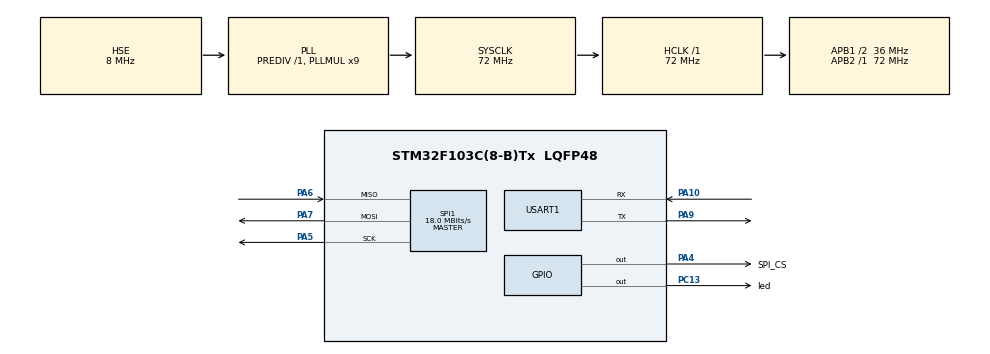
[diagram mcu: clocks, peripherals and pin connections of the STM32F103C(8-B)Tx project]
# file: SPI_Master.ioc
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Mcu.Family=STM32F1
Mcu.Name=STM32F103C(8-B)Tx
Mcu.Package=LQFP48
NVIC.PriorityGroup=NVIC_PRIORITYGROUP_4
PA10.Mode=Asynchronous
PA10.Signal=USART1_RX
PA13.Mode=Serial_Wire
PA13.Signal=SYS_JTMS-SWDIO
PA14.Mode=Serial_Wire
PA14.Signal=SYS_JTCK-SWCLK
PA4.GPIO_Label=SPI_CS
PA4.Signal=GPIO_Output
PA5.Mode=Full_Duplex_Master
PA5.Signal=SPI1_SCK
PA6.Mode=Full_Duplex_Master
PA6.Signal=SPI1_MISO
PA7.Mode=Full_Duplex_Master
PA7.Signal=SPI1_MOSI
PA9.Mode=Asynchronous
PA9.Signal=USART1_TX
PC13-TAMPER-RTC.GPIO_Label=led
PC13-TAMPER-RTC.Signal=GPIO_Output
PD0-OSC_IN.Mode=HSE-External-Oscillator
PD0-OSC_IN.Signal=RCC_OSC_IN
PD1-OSC_OUT.Mode=HSE-External-Oscillator
PD1-OSC_OUT.Signal=RCC_OSC_OUT
ProjectManager.HeapSize=0x200
ProjectManager.StackSize=0x400
ProjectManager.TargetToolchain=STM32CubeIDE
RCC.AHBFreq_Value=72000000
RCC.APB1CLKDivider=RCC_HCLK_DIV2
RCC.APB1Freq_Value=36000000
RCC.APB1TimFreq_Value=72000000
RCC.APB2Freq_Value=72000000
RCC.APB2TimFreq_Value=72000000
RCC.HCLKFreq_Value=72000000
RCC.PLLMUL=RCC_PLL_MUL9
RCC.PLLSourceVirtual=RCC_PLLSOURCE_HSE
RCC.SYSCLKFreq_VALUE=72000000
RCC.SYSCLKSource=RCC_SYSCLKSOURCE_PLLCLK
RCC.USBFreq_Value=72000000
SPI1.BaudRatePrescaler=SPI_BAUDRATEPRESCALER_4
SPI1.CalculateBaudRate=18.0 MBits/s
SPI1.Direction=SPI_DIRECTION_2LINES
SPI1.Mode=SPI_MODE_MASTER
SPI1.VirtualType=VM_MASTER
USART1.VirtualMode=VM_ASYNC
board=custom

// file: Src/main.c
/* USER CODE BEGIN Header */
/**
  ******************************************************************************
  * @file           : main.c
  * @brief          : Main program body
  ******************************************************************************
  * @attention
  *
  * <h2><center>&copy; Copyright (c) 2020 STMicroelectronics.
  * All rights reserved.</center></h2>
  *
  * This software component is licensed by ST under BSD 3-Clause license,
  * the "License"; You may not use this file except in compliance with the
  * License. You may obtain a copy of the License at:
  *                        opensource.org/licenses/BSD-3-Clause
  *
  ******************************************************************************
  */
/* USER CODE END Header */
#include "main.h"

/* USER CODE BEGIN Includes */
#include "spi_drive_master.h"
/* USER CODE END Includes */

SPI_HandleTypeDef hspi1;

UART_HandleTypeDef huart1;

void SystemClock_Config(void);
static void MX_GPIO_Init(void);
static void MX_SPI1_Init(void);
static void MX_USART1_UART_Init(void);

int main(void)
{

  /* MCU Configuration--------------------------------------------------------*/

  /* Reset of all peripherals, Initializes the Flash interface and the Systick. */
  HAL_Init();

  /* Configure the system clock */
  SystemClock_Config();

  /* Initialize all configured peripherals */
  MX_GPIO_Init();
  MX_SPI1_Init();
  MX_USART1_UART_Init();
  /* USER CODE BEGIN 2 */

  uint8_t aRxBuff[1];
  aRxBuff[0] = 0;
  uint8_t aTxBuff[1];
  aTxBuff[0] = 'v';

  int test;
  /* USER CODE END 2 */

  /* Infinite loop */
  while (1)
  {

    /* USER CODE BEGIN 3 */
	  HAL_UART_Receive(&huart1, aRxBuff, 1, 100);
	  if(aRxBuff[0] == 's')
	  {
		  //spi_write(11, 1523);

		  aRxBuff[0] = 0;

		  HAL_GPIO_TogglePin(led_GPIO_Port, led_Pin);

			SET_CS();
			//SPI_SEND_8_BIT(adr_reg);
			HAL_SPI_Transmit(&hspi1, aTxBuff, 1, 30);

			HAL_SPI_TransmitReceive(&hspi1, (uint8_t*)1, aRxBuff, 1, 200);

			CLR_CS();

			test = 10;
	  }

	  HAL_Delay(1000);

	  //HAL_Delay(500);
  }
  /* USER CODE END 3 */
}

void SystemClock_Config(void)
{
  RCC_OscInitTypeDef RCC_OscInitStruct = {0};
  RCC_ClkInitTypeDef RCC_ClkInitStruct = {0};

  /** Initializes the RCC Oscillators according to the specified parameters
  * in the RCC_OscInitTypeDef structure.
  */
  RCC_OscInitStruct.OscillatorType = RCC_OSCILLATORTYPE_HSE;
  RCC_OscInitStruct.HSEState = RCC_HSE_ON;
  RCC_OscInitStruct.HSEPredivValue = RCC_HSE_PREDIV_DIV1;
  RCC_OscInitStruct.HSIState = RCC_HSI_ON;
  RCC_OscInitStruct.PLL.PLLState = RCC_PLL_ON;
  RCC_OscInitStruct.PLL.PLLSource = RCC_PLLSOURCE_HSE;
  RCC_OscInitStruct.PLL.PLLMUL = RCC_PLL_MUL9;
  if (HAL_RCC_OscConfig(&RCC_OscInitStruct) != HAL_OK)
  {
    Error_Handler();
  }
  /** Initializes the CPU, AHB and APB buses clocks
  */
  RCC_ClkInitStruct.ClockType = RCC_CLOCKTYPE_HCLK|RCC_CLOCKTYPE_SYSCLK
                              |RCC_CLOCKTYPE_PCLK1|RCC_CLOCKTYPE_PCLK2;
  RCC_ClkInitStruct.SYSCLKSource = RCC_SYSCLKSOURCE_PLLCLK;
  RCC_ClkInitStruct.AHBCLKDivider = RCC_SYSCLK_DIV1;
  RCC_ClkInitStruct.APB1CLKDivider = RCC_HCLK_DIV2;
  RCC_ClkInitStruct.APB2CLKDivider = RCC_HCLK_DIV1;

  if (HAL_RCC_ClockConfig(&RCC_ClkInitStruct, FLASH_LATENCY_2) != HAL_OK)
  {
    Error_Handler();
  }
}

static void MX_SPI1_Init(void)
{

  /* SPI1 parameter configuration*/
  hspi1.Instance = SPI1;
  hspi1.Init.Mode = SPI_MODE_MASTER;
  hspi1.Init.Direction = SPI_DIRECTION_2LINES;
  hspi1.Init.DataSize = SPI_DATASIZE_8BIT;
  hspi1.Init.CLKPolarity = SPI_POLARITY_LOW;
  hspi1.Init.CLKPhase = SPI_PHASE_1EDGE;
  hspi1.Init.NSS = SPI_NSS_SOFT;
  hspi1.Init.BaudRatePrescaler = SPI_BAUDRATEPRESCALER_4;
  hspi1.Init.FirstBit = SPI_FIRSTBIT_MSB;
  hspi1.Init.TIMode = SPI_TIMODE_DISABLE;
  hspi1.Init.CRCCalculation = SPI_CRCCALCULATION_DISABLE;
  hspi1.Init.CRCPolynomial = 10;
  if (HAL_SPI_Init(&hspi1) != HAL_OK)
  {
    Error_Handler();
  }

}

static void MX_USART1_UART_Init(void)
{

  huart1.Instance = USART1;
  huart1.Init.BaudRate = 115200;
  huart1.Init.WordLength = UART_WORDLENGTH_8B;
  huart1.Init.StopBits = UART_STOPBITS_1;
  huart1.Init.Parity = UART_PARITY_NONE;
  huart1.Init.Mode = UART_MODE_TX_RX;
  huart1.Init.HwFlowCtl = UART_HWCONTROL_NONE;
  huart1.Init.OverSampling = UART_OVERSAMPLING_16;
  if (HAL_UART_Init(&huart1) != HAL_OK)
  {
    Error_Handler();
  }

}

static void MX_GPIO_Init(void)
{
  GPIO_InitTypeDef GPIO_InitStruct = {0};

  /* GPIO Ports Clock Enable */
  __HAL_RCC_GPIOC_CLK_ENABLE();
  __HAL_RCC_GPIOD_CLK_ENABLE();
  __HAL_RCC_GPIOA_CLK_ENABLE();

  /*Configure GPIO pin Output Level */
  HAL_GPIO_WritePin(led_GPIO_Port, led_Pin, GPIO_PIN_RESET);

  /*Configure GPIO pin Output Level */
  HAL_GPIO_WritePin(SPI_CS_GPIO_Port, SPI_CS_Pin, GPIO_PIN_RESET);

  /*Configure GPIO pin : led_Pin */
  GPIO_InitStruct.Pin = led_Pin;
  GPIO_InitStruct.Mode = GPIO_MODE_OUTPUT_PP;
  GPIO_InitStruct.Pull = GPIO_NOPULL;
  GPIO_InitStruct.Speed = GPIO_SPEED_FREQ_LOW;
  HAL_GPIO_Init(led_GPIO_Port, &GPIO_InitStruct);

  /*Configure GPIO pin : SPI_CS_Pin */
  GPIO_InitStruct.Pin = SPI_CS_Pin;
  GPIO_InitStruct.Mode = GPIO_MODE_OUTPUT_PP;
  GPIO_InitStruct.Pull = GPIO_NOPULL;
  GPIO_InitStruct.Speed = GPIO_SPEED_FREQ_LOW;
  HAL_GPIO_Init(SPI_CS_GPIO_Port, &GPIO_InitStruct);

}

void Error_Handler(void)
{
}

/************************ (C) COPYRIGHT STMicroelectronics *****END OF FILE****/
